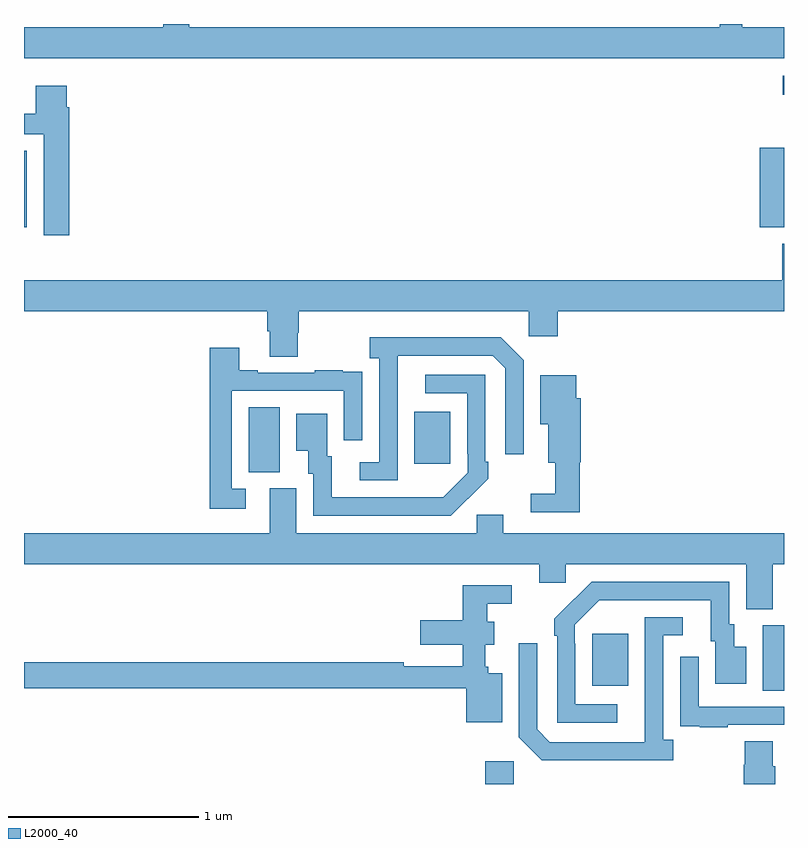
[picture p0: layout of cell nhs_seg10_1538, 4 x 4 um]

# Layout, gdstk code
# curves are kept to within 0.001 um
import gdstk
lib = gdstk.Library(unit=1e-6, precision=1e-09)
def R(c, l, rs):  # rectangles x0, y0, x1, y1
    for r in rs: c.add(gdstk.rectangle(r[:2], r[2:], *l))
def P(c, l, *ps):  # polygons
    for p in ps: c.add(gdstk.Polygon(p, *l))
L2000_40 = (2000, 40)

nhs_seg10_1538 = lib.new_cell('nhs_seg10_1538')
R(nhs_seg10_1538, L2000_40, [(193.427,1292.5,193.578,1292.62), (194.888,1292.992,195,1293.336), (193.991,1293.017,194.179,1293.292), (192.182,1294.141,192.346,1294.484), (193.055,1294.185,193.243,1294.459), (191,1295.429,191.014,1295.834), (194.873,1295.429,195,1295.848), (194.994,1296.127,195,1296.228)])
P(nhs_seg10_1538, L2000_40, [(195,1296.484),(194.78,1296.484),(194.78,1296.5),(194.663,1296.5),(194.663,1296.484),(191.871,1296.484),(191.871,1296.5),(191.733,1296.5),(191.733,1296.484),(191,1296.484),(191,1296.32),(195,1296.32)],
  [(191.237,1296.062),(191.224,1296.062),(191.224,1296.175),(191.063,1296.175),(191.063,1296.028),(191,1296.028),(191,1295.919),(191.105,1295.919),(191.105,1295.388),(191.237,1295.388)],
  [(192.441,1294.875),(192.446,1294.875),(192.446,1294.988),(193.656,1294.988),(193.656,1294.857),(193.808,1294.857),(193.808,1294.988),(195,1294.988),(195,1295.344),(194.99,1295.344),(194.99,1295.152),(191,1295.152),(191,1294.988),(192.281,1294.988),(192.281,1294.882),(192.293,1294.882),(192.293,1294.75),(192.441,1294.75)],
  [(192.966,1294.555),(192.967,1294.755),(193.467,1294.755),(193.533,1294.689),(193.533,1294.236),(193.629,1294.236),(193.629,1294.731),(193.508,1294.852),(192.819,1294.852),(192.819,1294.742),(192.87,1294.742),(192.87,1294.194),(192.768,1294.194),(192.768,1294.098),(192.966,1294.098)],
  [(192.166,1294.053),(192.093,1294.053),(192.093,1294.569),(192.684,1294.569),(192.684,1294.308),(192.78,1294.308),(192.78,1294.562),(192.779,1294.562),(192.779,1294.671),(192.677,1294.671),(192.677,1294.678),(192.529,1294.678),(192.529,1294.665),(192.229,1294.665),(192.229,1294.678),(192.133,1294.678),(192.133,1294.795),(191.977,1294.795),(191.977,1293.948),(192.166,1293.948)],
  [(193.337,1294.003),(193.338,1294.002),(193.443,1294.107),(193.443,1294.195),(193.428,1294.195),(193.428,1294.653),(193.113,1294.653),(193.113,1294.557),(193.332,1294.557),(193.332,1294.237),(193.335,1294.237),(193.335,1294.137),(193.207,1294.009),(192.619,1294.008),(192.619,1294.224),(192.595,1294.224),(192.595,1294.45),(192.434,1294.45),(192.434,1294.253),(192.497,1294.253),(192.497,1294.134),(192.522,1294.134),(192.522,1293.912),(193.246,1293.912)],
  [(193.925,1294.194),(193.931,1294.194),(193.931,1294.53),(193.906,1294.53),(193.906,1294.651),(193.718,1294.651),(193.718,1294.394),(193.76,1294.394),(193.76,1294.19),(193.797,1294.19),(193.797,1294.027),(193.668,1294.027),(193.668,1293.93),(193.925,1293.93)],
  [(193.712,1293.558),(193.851,1293.558),(193.851,1293.656),(194.801,1293.656),(194.801,1293.421),(194.941,1293.421),(194.941,1293.656),(195,1293.656),(195,1293.82),(193.522,1293.82),(193.522,1293.918),(193.383,1293.918),(193.383,1293.82),(192.433,1293.82),(192.433,1294.056),(192.293,1294.056),(192.293,1293.82),(191,1293.82),(191,1293.656),(193.712,1293.656)],
  [(194.122,1292.919),(193.902,1292.919),(193.902,1293.239),(193.899,1293.239),(193.899,1293.339),(194.028,1293.468),(194.615,1293.468),(194.615,1293.252),(194.639,1293.252),(194.639,1293.027),(194.8,1293.027),(194.8,1293.223),(194.737,1293.223),(194.737,1293.342),(194.712,1293.342),(194.712,1293.564),(193.988,1293.564),(193.791,1293.369),(193.791,1293.281),(193.806,1293.281),(193.806,1292.823),(194.122,1292.823)],
  [(193.516,1293.082),(193.444,1293.082),(193.444,1293.117),(193.427,1293.117),(193.427,1293.233),(193.474,1293.233),(193.474,1293.355),(193.438,1293.355),(193.438,1293.45),(193.567,1293.45),(193.567,1293.546),(193.309,1293.546),(193.309,1293.363),(193.086,1293.363),(193.086,1293.233),(193.309,1293.233),(193.309,1293.12),(192.998,1293.12),(192.998,1293.14),(191,1293.14),(191,1293.004),(193.328,1293.004),(193.328,1292.825),(193.516,1292.825)],
  [(194.416,1292.734),(194.364,1292.734),(194.364,1293.282),(194.467,1293.282),(194.467,1293.378),(194.268,1293.378),(194.267,1292.721),(193.767,1292.721),(193.701,1292.787),(193.701,1293.241),(193.605,1293.241),(193.605,1292.745),(193.726,1292.624),(194.416,1292.624)],
  [(194.705,1292.811),(195,1292.811),(195,1292.907),(194.55,1292.907),(194.55,1293.169),(194.454,1293.169),(194.454,1292.914),(194.455,1292.914),(194.455,1292.805),(194.557,1292.805),(194.557,1292.799),(194.705,1292.799)],
  [(194.954,1292.594),(194.941,1292.594),(194.941,1292.726),(194.794,1292.726),(194.794,1292.601),(194.789,1292.601),(194.789,1292.5),(194.954,1292.5)])

lib.write_gds('nhs_seg10_1538.gds')
